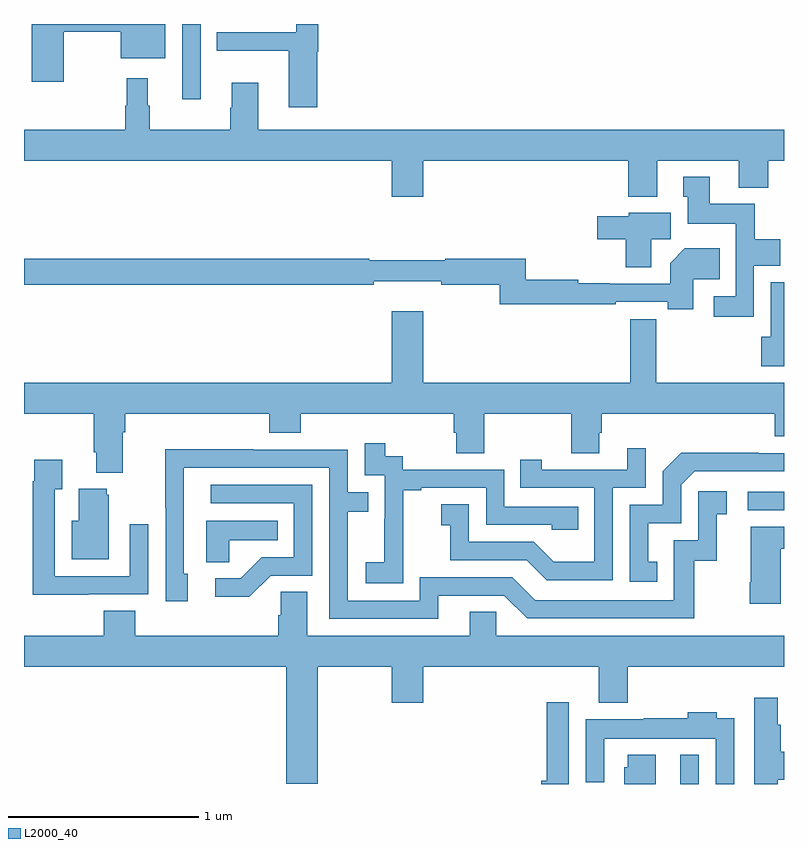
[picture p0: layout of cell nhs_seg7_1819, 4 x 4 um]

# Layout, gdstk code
import gdstk
lib = gdstk.Library(unit=1e-6, precision=1e-09)
def R(c, l, rs):  # rectangles x0, y0, x1, y1
    for r in rs: c.add(gdstk.rectangle(r[:2], r[2:], *l))
def P(c, l, *ps):  # polygons
    for p in ps: c.add(gdstk.Polygon(p, *l))
L2000_40 = (2000, 40)

nhs_seg7_1819 = lib.new_cell('nhs_seg7_1819')
R(nhs_seg7_1819, L2000_40, [(238.454,1000,238.551,1000.153), (238.809,1001.442,239,1001.538), (235.833,1003.605,235.929,1004)])
P(nhs_seg7_1819, L2000_40, [(235.21,1003.96),(235.508,1003.96),(235.508,1003.82),(235.744,1003.82),(235.744,1004),(235.04,1004),(235.04,1003.695),(235.21,1003.695)],
  [(236.543,1003.853),(236.549,1003.853),(236.549,1004),(236.433,1004),(236.433,1003.956),(236.014,1003.956),(236.014,1003.859),(236.393,1003.859),(236.393,1003.563),(236.543,1003.563)],
  [(238.333,1003.28),(238.763,1003.28),(238.763,1003.139),(238.916,1003.139),(238.916,1003.28),(239,1003.28),(239,1003.444),(236.233,1003.444),(236.233,1003.69),(236.093,1003.69),(236.093,1003.559),(236.086,1003.559),(236.086,1003.444),(235.663,1003.444),(235.663,1003.571),(235.652,1003.571),(235.652,1003.714),(235.542,1003.714),(235.542,1003.571),(235.534,1003.571),(235.534,1003.444),(235,1003.444),(235,1003.28),(236.936,1003.28),(236.936,1003.092),(237.1,1003.092),(237.1,1003.28),(238.181,1003.28),(238.181,1003.091),(238.333,1003.091)],
  [(238.842,1002.728),(238.981,1002.728),(238.981,1002.868),(238.845,1002.868),(238.845,1003.054),(238.609,1003.054),(238.609,1003.195),(238.469,1003.195),(238.469,1003.092),(238.493,1003.092),(238.493,1002.95),(238.746,1002.95),(238.746,1002.567),(238.629,1002.567),(238.629,1002.459),(238.842,1002.459)],
  [(238.3,1002.868),(238.405,1002.868),(238.405,1003.006),(238.182,1003.006),(238.182,1002.988),(238.017,1002.988),(238.017,1002.866),(238.166,1002.866),(238.166,1002.72),(238.3,1002.72)],
  [(238.522,1002.656),(238.661,1002.656),(238.661,1002.82),(238.478,1002.82),(238.4,1002.742),(238.4,1002.633),(238.082,1002.633),(238.082,1002.636),(237.918,1002.636),(237.918,1002.653),(237.641,1002.653),(237.641,1002.764),(237.218,1002.764),(237.218,1002.757),(236.818,1002.757),(236.818,1002.764),(235,1002.764),(235,1002.628),(236.84,1002.628),(236.84,1002.647),(237.196,1002.647),(237.196,1002.628),(237.505,1002.628),(237.505,1002.525),(238.115,1002.525),(238.115,1002.537),(238.388,1002.537),(238.388,1002.499),(238.522,1002.499)],
  [(239,1002.64),(238.931,1002.64),(238.931,1002.354),(238.88,1002.354),(238.88,1002.198),(239,1002.198)],
  [(235,1001.948),(235.367,1001.948),(235.367,1001.746),(235.379,1001.746),(235.379,1001.639),(235.519,1001.639),(235.519,1001.852),(235.532,1001.852),(235.532,1001.948),(236.291,1001.948),(236.291,1001.849),(236.456,1001.849),(236.456,1001.948),(237.263,1001.948),(237.263,1001.85),(237.275,1001.85),(237.275,1001.74),(237.423,1001.74),(237.423,1001.948),(237.88,1001.948),(237.88,1001.74),(238.027,1001.74),(238.027,1001.85),(238.04,1001.85),(238.04,1001.948),(238.952,1001.948),(238.952,1001.831),(239,1001.831),(239,1002.112),(238.328,1002.112),(238.328,1002.445),(238.192,1002.445),(238.192,1002.112),(237.1,1002.112),(237.1,1002.487),(236.936,1002.487),(236.936,1002.112),(235,1002.112)],
  [(236.997,1001.263),(236.996,1001.263),(236.996,1001.547),(237.091,1001.547),(237.091,1001.559),(237.432,1001.559),(237.432,1001.364),(237.777,1001.364),(237.777,1001.337),(237.917,1001.337),(237.917,1001.46),(237.528,1001.46),(237.528,1001.655),(236.994,1001.655),(236.994,1001.724),(236.902,1001.724),(236.902,1001.794),(236.793,1001.794),(236.793,1001.625),(236.898,1001.625),(236.898,1001.396),(236.897,1001.396),(236.897,1001.167),(236.799,1001.167),(236.799,1001.057),(236.997,1001.057)],
  [(238.098,1001.559),(238.272,1001.559),(238.272,1001.767),(238.175,1001.767),(238.175,1001.655),(237.724,1001.655),(237.724,1001.707),(237.613,1001.707),(237.613,1001.559),(238.002,1001.559),(238.002,1001.17),(237.788,1001.17),(237.684,1001.274),(237.342,1001.274),(237.342,1001.473),(237.195,1001.473),(237.195,1001.363),(237.244,1001.363),(237.244,1001.178),(237.647,1001.178),(237.752,1001.073),(238.098,1001.073)],
  [(237.181,1000.992),(237.528,1000.992),(237.648,1000.872),(238.528,1000.872),(238.528,1001.175),(238.646,1001.175),(238.646,1001.421),(238.699,1001.421),(238.699,1001.542),(238.548,1001.542),(238.548,1001.283),(238.419,1001.283),(238.419,1000.968),(237.69,1000.968),(237.57,1001.088),(237.084,1001.088),(237.084,1000.965),(236.703,1000.965),(236.703,1001.434),(236.813,1001.434),(236.813,1001.535),(236.703,1001.535),(236.703,1001.76),(236.207,1001.76),(236.207,1001.762),(235.744,1001.762),(235.744,1001.455),(235.746,1001.455),(235.746,1000.962),(235.861,1000.962),(235.861,1001.106),(235.842,1001.106),(235.842,1001.664),(236.607,1001.664),(236.607,1000.869),(237.181,1000.869)],
  [(238.334,1001.169),(238.285,1001.169),(238.285,1001.373),(238.458,1001.373),(238.458,1001.574),(238.53,1001.646),(239,1001.646),(239,1001.742),(238.868,1001.742),(238.868,1001.744),(238.46,1001.744),(238.362,1001.646),(238.362,1001.469),(238.188,1001.469),(238.188,1001.064),(238.334,1001.064)],
  [(235.337,1000.998),(235.653,1000.998),(235.653,1001.368),(235.557,1001.368),(235.557,1001.094),(235.161,1001.094),(235.161,1001.551),(235.201,1001.551),(235.201,1001.707),(235.053,1001.707),(235.053,1001.594),(235.045,1001.594),(235.045,1000.997),(235.337,1000.997)],
  [(236.298,1001.097),(236.517,1001.097),(236.517,1001.574),(235.983,1001.574),(235.983,1001.478),(236.421,1001.478),(236.421,1001.193),(236.252,1001.193),(236.141,1001.082),(236.007,1001.082),(236.007,1000.985),(236.185,1000.985)],
  [(235.447,1001.523),(235.436,1001.523),(235.436,1001.554),(235.289,1001.554),(235.289,1001.386),(235.25,1001.386),(235.25,1001.183),(235.447,1001.183)],
  [(236.079,1001.282),(236.336,1001.282),(236.336,1001.386),(235.958,1001.386),(235.958,1001.167),(236.079,1001.167)],
  [(238.984,1001.239),(239,1001.239),(239,1001.353),(238.826,1001.353),(238.826,1001.062),(238.819,1001.062),(238.819,1000.95),(238.984,1000.95)],
  [(236.545,1000.616),(236.936,1000.616),(236.936,1000.428),(237.1,1000.428),(237.1,1000.616),(238.025,1000.616),(238.025,1000.427),(238.178,1000.427),(238.178,1000.616),(239,1000.616),(239,1000.78),(237.486,1000.78),(237.486,1000.907),(237.347,1000.907),(237.347,1000.78),(236.491,1000.78),(236.491,1001.012),(236.352,1001.012),(236.352,1000.889),(236.339,1000.889),(236.339,1000.78),(235.586,1000.78),(235.586,1000.913),(235.421,1000.913),(235.421,1000.78),(235,1000.78),(235,1000.616),(236.381,1000.616),(236.381,1000.002),(236.545,1000.002)],
  [(238.966,1000.022),(239,1000.022),(239,1000.17),(238.984,1000.17),(238.984,1000.311),(238.966,1000.311),(238.966,1000.453),(238.844,1000.453),(238.844,1000),(238.966,1000)],
  [(237.867,1000.429),(237.751,1000.429),(237.751,1000.018),(237.722,1000.018),(237.722,1000),(237.867,1000)],
  [(238.737,1000.345),(238.645,1000.345),(238.645,1000.378),(238.493,1000.378),(238.493,1000.345),(238.261,1000.345),(238.261,1000.342),(237.957,1000.342),(237.957,1000.008),(238.053,1000.008),(238.053,1000.238),(238.641,1000.238),(238.641,1000),(238.737,1000)],
  [(238.324,1000.153),(238.178,1000.153),(238.178,1000.089),(238.16,1000.089),(238.16,1000),(238.324,1000)])

lib.write_gds('nhs_seg7_1819.gds')
